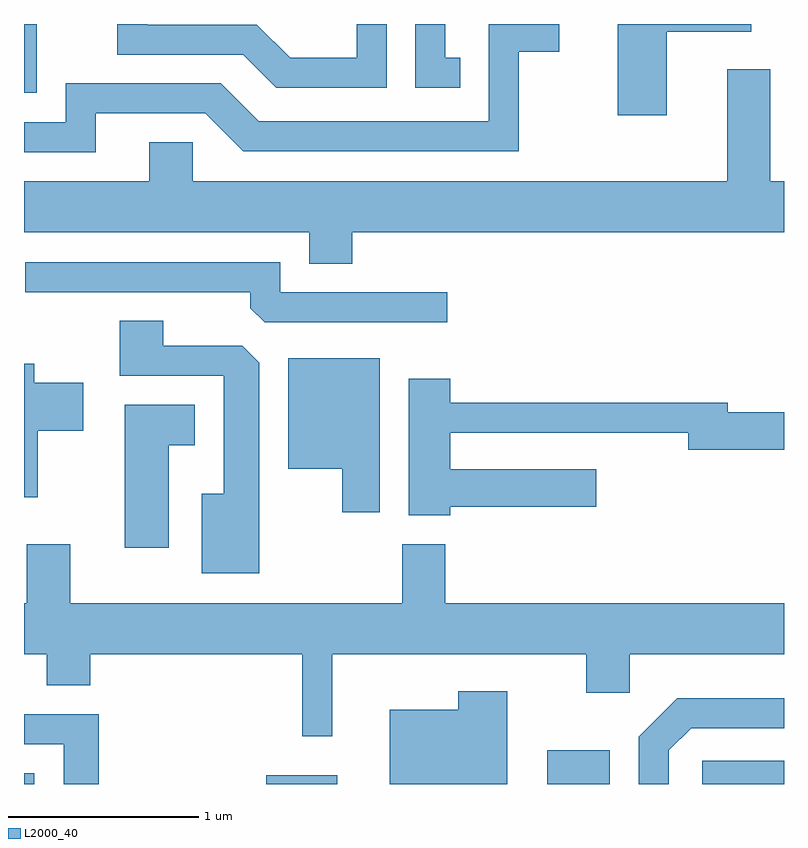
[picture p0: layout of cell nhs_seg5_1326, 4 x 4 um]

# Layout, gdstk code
import gdstk
lib = gdstk.Library(unit=1e-6, precision=1e-09)
def R(c, l, rs):  # rectangles x0, y0, x1, y1
    for r in rs: c.add(gdstk.rectangle(r[:2], r[2:], *l))
def P(c, l, *ps):  # polygons
    for p in ps: c.add(gdstk.Polygon(p, *l))
L2000_40 = (2000, 40)

nhs_seg5_1326 = lib.new_cell('nhs_seg5_1326')
R(nhs_seg5_1326, L2000_40, [(223.611,1496.072,223.664,1496.129), (224.886,1496.072,225.259,1496.119), (226.366,1496.072,226.694,1496.249), (227.181,1496.072,227.611,1496.194), (223.611,1499.711,223.679,1500.072)])
P(nhs_seg5_1326, L2000_40, [(223.989,1499.601),(224.564,1499.601),(224.764,1499.401),(226.214,1499.401),(226.214,1499.926),(226.429,1499.926),(226.429,1500.072),(226.056,1500.072),(226.056,1499.559),(224.847,1499.559),(224.647,1499.759),(223.831,1499.759),(223.831,1499.554),(223.611,1499.554),(223.611,1499.396),(223.989,1499.396)],
  [(226.994,1500.031),(227.438,1500.031),(227.438,1500.072),(226.736,1500.072),(226.736,1499.591),(226.994,1499.591)],
  [(225.908,1499.894),(225.829,1499.894),(225.829,1500.072),(225.671,1500.072),(225.671,1499.736),(225.908,1499.736)],
  [(225.519,1500.072),(225.361,1500.072),(225.361,1499.894),(225.012,1499.894),(224.837,1500.069),(224.259,1500.069),(224.259,1500.072),(224.101,1500.072),(224.101,1499.911),(224.764,1499.911),(224.939,1499.736),(225.519,1499.736)],
  [(225.339,1498.976),(227.611,1498.976),(227.611,1499.244),(227.539,1499.244),(227.539,1499.834),(227.311,1499.834),(227.311,1499.244),(224.499,1499.244),(224.499,1499.449),(224.271,1499.449),(224.271,1499.244),(223.611,1499.244),(223.611,1498.976),(225.111,1498.976),(225.111,1498.811),(225.339,1498.811)],
  [(225.838,1498.659),(224.959,1498.659),(224.959,1498.819),(223.618,1498.819),(223.618,1498.661),(224.801,1498.661),(224.801,1498.577),(224.877,1498.501),(225.838,1498.501)],
  [(224.849,1498.289),(224.759,1498.379),(224.344,1498.379),(224.344,1498.509),(224.116,1498.509),(224.116,1498.221),(224.661,1498.221),(224.661,1497.599),(224.546,1497.599),(224.546,1497.181),(224.849,1497.181)],
  [(225.484,1498.314),(225.001,1498.314),(225.001,1497.731),(225.286,1497.731),(225.286,1497.501),(225.484,1497.501)],
  [(223.684,1497.931),(223.924,1497.931),(223.924,1498.184),(223.664,1498.184),(223.664,1498.284),(223.611,1498.284),(223.611,1497.581),(223.684,1497.581)],
  [(225.854,1497.531),(226.624,1497.531),(226.624,1497.729),(225.854,1497.729),(225.854,1497.921),(227.106,1497.921),(227.106,1497.831),(227.611,1497.831),(227.611,1498.029),(227.314,1498.029),(227.314,1498.079),(225.854,1498.079),(225.854,1498.204),(225.636,1498.204),(225.636,1497.486),(225.854,1497.486)],
  [(224.374,1497.856),(224.509,1497.856),(224.509,1498.069),(224.141,1498.069),(224.141,1497.316),(224.374,1497.316)],
  [(223.854,1497.334),(223.626,1497.334),(223.626,1497.024),(223.611,1497.024),(223.611,1496.756),(223.731,1496.756),(223.731,1496.591),(223.959,1496.591),(223.959,1496.756),(225.076,1496.756),(225.076,1496.323),(225.234,1496.323),(225.234,1496.756),(226.571,1496.756),(226.571,1496.551),(226.799,1496.551),(226.799,1496.756),(227.611,1496.756),(227.611,1497.024),(225.829,1497.024),(225.829,1497.334),(225.601,1497.334),(225.601,1497.024),(223.854,1497.024)],
  [(226.154,1496.559),(225.896,1496.559),(225.896,1496.464),(225.536,1496.464),(225.536,1496.072),(226.154,1496.072)],
  [(227.004,1496.249),(227.122,1496.366),(227.611,1496.366),(227.611,1496.524),(227.049,1496.524),(226.846,1496.322),(226.846,1496.072),(227.004,1496.072)],
  [(224.004,1496.439),(223.611,1496.439),(223.611,1496.281),(223.821,1496.281),(223.821,1496.072),(224.004,1496.072)])

lib.write_gds('nhs_seg5_1326.gds')
